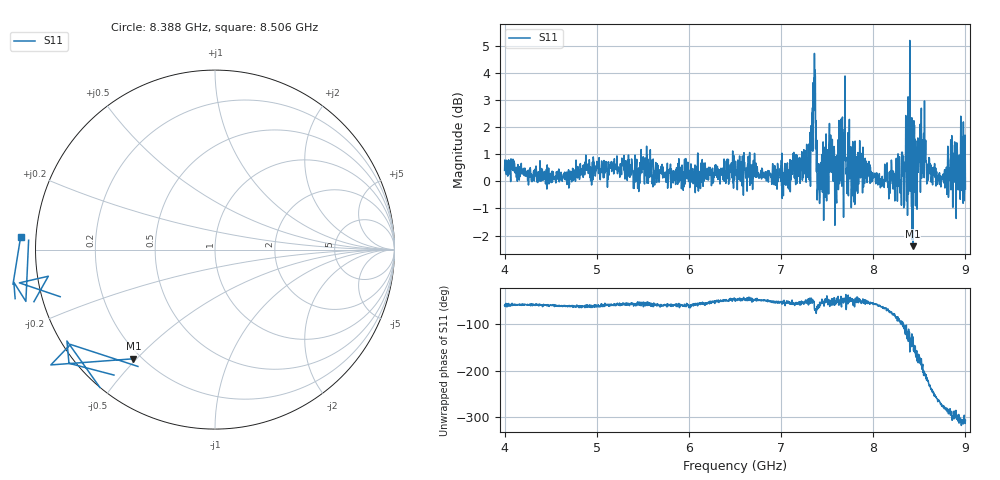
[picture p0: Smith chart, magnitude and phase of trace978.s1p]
! Created with skrf 1.8.0 (http://scikit-rf.org).
# Hz S RI R 50.0
!freq ReS11 ImS11
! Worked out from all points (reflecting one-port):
!   1601 points, 4 GHz to 9 GHz, reference 50 ohm
!   lowest |S11| = -2.4 dB at 8.431 GHz (marker M1), VSWR 7.30, Z = 8.53 - j24.5 ohm
!   phase of S11 starts at -58 deg and turns -250 deg over the sweep
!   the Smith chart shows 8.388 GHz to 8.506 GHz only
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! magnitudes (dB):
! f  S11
! 4 GHz  0.4
! 4.625 GHz  0.0
! 5.25 GHz  0.2
! 5.875 GHz  0.3
! 6.5 GHz  0.3
! 7.038 GHz  0.5
! 7.125 GHz  0.5
! 7.297 GHz  0.6
! 7.356 GHz  3.8
! 7.388 GHz  1.5
! 7.4 GHz  -0.3
! 7.416 GHz  -0.8
! 7.531 GHz  1.0
! 7.597 GHz  0.0
! 7.669 GHz  0.8
! 7.75 GHz  0.1
! 7.784 GHz  0.1
! 7.844 GHz  0.6
! 8.094 GHz  -0.2
! 8.241 GHz  0.2
! 8.347 GHz  0.4
! 8.375 GHz  1.2
! 8.431 GHz  -2.4
! 8.541 GHz  1.5
! 8.603 GHz  0.9
! 8.722 GHz  -0.1
! 8.956 GHz  0.5
! 9 GHz  -0.3
